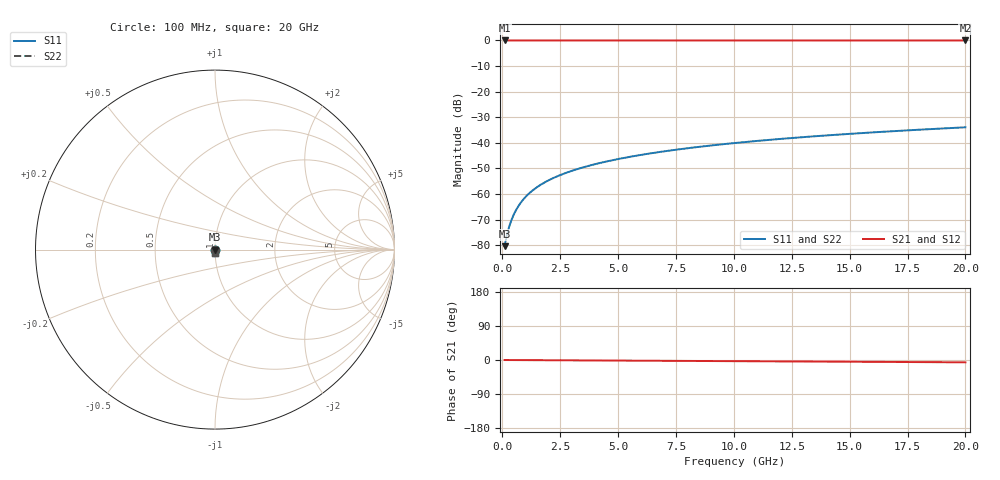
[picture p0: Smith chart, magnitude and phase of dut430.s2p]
! Touchstone file exported from HFSS 2026.1.0
!  File:  C:/ffzhzh/LocalFiles/Ansys_Project_Files/temp_train_TSV_430_1783021134_55676.aedt
!  Generated:  03:40:22 AM Jul  3, 2026
!  Design:  TSV
!  Project:  temp_train_TSV_430_1783021134_55676
! Variables:
!  h_bsmrdl = 2um
!  h_ox = 20um
!  h_rdl = 5um
!  h_sub = 58.26um
!  h_tmrdl = 5um
!  h_tsv = 58.26um
!  h_via = 3um
!  l_bsmrdl = 300um
!  l_sub = 427.04um
!  l_tmrdl = 200um
!  m_sub = 200um
!  pitch = 45um
!  r_tsv = 13.52um
!  s_tmrdl = 10um
!  w_bsmrdl = 18um
!  w_sub = 500um
!  w_tmrdl = 12um
!  x_tsv_center1 = 206um
!  x_tsv_center2 = 524um
!  x_tsv_center3 = 736um
!  x_tsv_center4 = 1054um
!  x_tsv_center5 = 1266um
!  x_tsv_center6 = 1584um
# GHz S MA R 50.000000
! Terminal data exported
! Port[1] = TSV1_1_T1
! Port[2] = TSV1_1_T2
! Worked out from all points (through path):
!   200 points, 100 MHz to 20 GHz, reference 50 ohm
!   highest |S21| = 0.00 dB at 100 MHz (marker M1); lowest = 0.0 dB at 20 GHz (marker M2)
!   lowest |S11| = -80.3 dB at 100 MHz (marker M3), VSWR 1.00, Z = 50 - j0.00681 ohm
!   |S11| at or under -10 dB: start of sweep to end of sweep
!   |S22| runs from -80.3 to -33.9 dB; largest |S21 - S12| = 4.8e-15
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0.1  9.626e-05 -45.0  0.9999 -0.0  0.9999 -0.0  9.626e-05 -45.0
! Gamma 0 0 0 0
! Port Impedance 50 0 50 0
0.2  0.0001594 -60.6  0.9999 -0.1  0.9999 -0.1  0.0001594 -60.6
0.3  0.0002338 -66.5  0.9999 -0.1  0.9999 -0.1  0.0002338 -66.5
0.4  0.0003152 -69.4  0.9999 -0.1  0.9999 -0.1  0.0003152 -69.4
0.5  0.000402 -71.3  0.9999 -0.2  0.9999 -0.2  0.000402 -71.3
0.6  0.0004929 -72.8  0.9999 -0.2  0.9999 -0.2  0.0004929 -72.8
0.8  0.0006821 -75.0  0.9998 -0.3  0.9998 -0.3  0.0006821 -75.0
1.1  0.0009745 -77.6  0.9998 -0.3  0.9998 -0.3  0.0009745 -77.6
1.3  0.001171 -79.0  0.9998 -0.4  0.9998 -0.4  0.001171 -79.0
1.5  0.001368 -80.1  0.9998 -0.5  0.9998 -0.5  0.001368 -80.1
1.8  0.001663 -81.4  0.9997 -0.6  0.9997 -0.6  0.001663 -81.4
2.1  0.001958 -82.4  0.9997 -0.7  0.9997 -0.7  0.001958 -82.4
2.7  0.002549 -83.8  0.9997 -0.8  0.9997 -0.8  0.002549 -83.8
3.5  0.003339 -85.1  0.9996 -1.1  0.9996 -1.1  0.003339 -85.1
4.2  0.004035 -85.8  0.9996 -1.3  0.9996 -1.3  0.004035 -85.8
5  0.004834 -86.6  0.9996 -1.5  0.9996 -1.5  0.004834 -86.6
6.8  0.006649 -87.8  0.9995 -2.1  0.9995 -2.1  0.006649 -87.8
8.3  0.008171 -88.7  0.9994 -2.6  0.9994 -2.6  0.008171 -88.7
10.1  0.01 -89.7  0.9993 -3.1  0.9993 -3.1  0.01 -89.7
13.4  0.01337 -91.2  0.9992 -4.1  0.9992 -4.1  0.01337 -91.2
16.7  0.01675 -92.5  0.9991 -5.1  0.9991 -5.1  0.01675 -92.5
20  0.02014 -93.7  0.9989 -6.1  0.9989 -6.1  0.02014 -93.7
